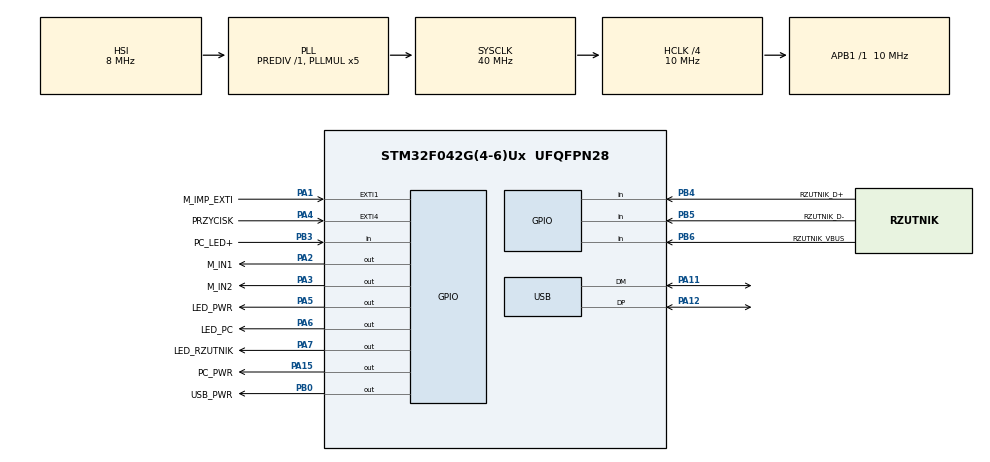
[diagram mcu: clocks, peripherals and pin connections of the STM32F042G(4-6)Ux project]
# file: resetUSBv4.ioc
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Mcu.Family=STM32F0
Mcu.Name=STM32F042G(4-6)Ux
Mcu.Package=UFQFPN28
NVIC.EXTI4_15_IRQn=true\:0\:0\:false\:false\:true\:true
PA1.GPIO_Label=M_IMP_EXTI
PA1.Signal=GPXTI1
PA11.Mode=Device
PA11.Signal=USB_DM
PA12.Mode=Device
PA12.Signal=USB_DP
PA13.Mode=Serial_Wire
PA13.Signal=SYS_SWDIO
PA14.Mode=Serial_Wire
PA14.Signal=SYS_SWCLK
PA15.GPIO_Label=PC_PWR
PA15.GPIO_ModeDefaultOutputPP=GPIO_MODE_OUTPUT_OD
PA15.GPIO_PuPd=GPIO_NOPULL
PA15.PinState=GPIO_PIN_SET
PA15.Signal=GPIO_Output
PA2.GPIO_Label=M_IN1
PA2.PinState=GPIO_PIN_SET
PA2.Signal=GPIO_Output
PA3.GPIO_Label=M_IN2
PA3.PinState=GPIO_PIN_SET
PA3.Signal=GPIO_Output
PA4.GPIO_Label=PRZYCISK
PA4.GPIO_ModeDefaultEXTI=GPIO_MODE_IT_RISING_FALLING
PA4.GPIO_PuPd=GPIO_PULLUP
PA4.Signal=GPXTI4
PA5.GPIO_Label=LED_PWR
PA5.Signal=GPIO_Output
PA6.GPIO_Label=LED_PC
PA6.Signal=GPIO_Output
PA7.GPIO_Label=LED_RZUTNIK
PA7.Signal=GPIO_Output
PB0.GPIO_Label=USB_PWR
PB0.GPIO_ModeDefaultOutputPP=GPIO_MODE_OUTPUT_OD
PB0.GPIO_PuPd=GPIO_NOPULL
PB0.PinState=GPIO_PIN_SET
PB0.Signal=GPIO_Output
PB3.GPIO_Label=PC_LED+
PB3.GPIO_PuPd=GPIO_NOPULL
PB3.Signal=GPIO_Input
PB4.GPIO_Label=RZUTNIK_D+
PB4.GPIO_PuPd=GPIO_PULLDOWN
PB4.Signal=GPIO_Input
PB5.GPIO_Label=RZUTNIK_D-
PB5.GPIO_PuPd=GPIO_PULLDOWN
PB5.Signal=GPIO_Input
PB6.GPIO_Label=RZUTNIK_VBUS
PB6.GPIO_PuPd=GPIO_PULLDOWN
PB6.Signal=GPIO_Input
ProjectManager.HeapSize=0x200
ProjectManager.StackSize=0x400
ProjectManager.TargetToolchain=SW4STM32
RCC.AHBCLKDivider=RCC_SYSCLK_DIV4
RCC.AHBFreq_Value=10000000
RCC.APB1Freq_Value=10000000
RCC.APB1TimFreq_Value=10000000
RCC.HCLKFreq_Value=10000000
RCC.PLLMUL=RCC_PLL_MUL5
RCC.SYSCLKFreq_VALUE=40000000
RCC.SYSCLKSource=RCC_SYSCLKSOURCE_PLLCLK
TIM14.Channel=TIM_CHANNEL_1
VP_SYS_VS_PINREMAP.Mode=PINREMAP
VP_TIM14_VS_ClockSourceINT.Mode=Enable_Timer
VP_TIM14_VS_no_output1.Mode=Output Compare1 No Output
board=resetUSBv4

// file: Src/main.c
/**
  ******************************************************************************
  * @file           : main.c
  * @brief          : Main program body
  ******************************************************************************
  ** This notice applies to any and all portions of this file
  * that are not between comment pairs USER CODE BEGIN and
  * USER CODE END. Other portions of this file, whether
  * inserted by the user or by software development tools
  * are owned by their respective copyright owners.
  *
  * COPYRIGHT(c) 2018 STMicroelectronics
  *
  * Redistribution and use in source and binary forms, with or without modification,
  * are permitted provided that the following conditions are met:
  *   1. Redistributions of source code must retain the above copyright notice,
  *      this list of conditions and the following disclaimer.
  *   2. Redistributions in binary form must reproduce the above copyright notice,
  *      this list of conditions and the following disclaimer in the documentation
  *      and/or other materials provided with the distribution.
  *   3. Neither the name of STMicroelectronics nor the names of its contributors
  *      may be used to endorse or promote products derived from this software
  *      without specific prior written permission.
  *
  * THIS SOFTWARE IS PROVIDED BY THE COPYRIGHT HOLDERS AND CONTRIBUTORS "AS IS"
  * AND ANY EXPRESS OR IMPLIED WARRANTIES, INCLUDING, BUT NOT LIMITED TO, THE
  * IMPLIED WARRANTIES OF MERCHANTABILITY AND FITNESS FOR A PARTICULAR PURPOSE ARE
  * DISCLAIMED. IN NO EVENT SHALL THE COPYRIGHT HOLDER OR CONTRIBUTORS BE LIABLE
  * FOR ANY DIRECT, INDIRECT, INCIDENTAL, SPECIAL, EXEMPLARY, OR CONSEQUENTIAL
  * DAMAGES (INCLUDING, BUT NOT LIMITED TO, PROCUREMENT OF SUBSTITUTE GOODS OR
  * SERVICES; LOSS OF USE, DATA, OR PROFITS; OR BUSINESS INTERRUPTION) HOWEVER
  * CAUSED AND ON ANY THEORY OF LIABILITY, WHETHER IN CONTRACT, STRICT LIABILITY,
  * OR TORT (INCLUDING NEGLIGENCE OR OTHERWISE) ARISING IN ANY WAY OUT OF THE USE
  * OF THIS SOFTWARE, EVEN IF ADVISED OF THE POSSIBILITY OF SUCH DAMAGE.
  *
  ******************************************************************************
  */
#include "main.h"
#include "stm32f0xx_hal.h"

TIM_HandleTypeDef htim14;

PCD_HandleTypeDef hpcd_USB_FS;

/* USER CODE BEGIN PV */
/* Private variables ---------------------------------------------------------*/
enum stany_programu
{
	oczekiwanie,
	silownik_gora,
	silownik_dol
};

volatile enum stany_programu stan = oczekiwanie;
volatile uint8_t przycisk_flag = 0;
/* USER CODE END PV */

void SystemClock_Config(void);
static void MX_GPIO_Init(void);
static void MX_TIM14_Init(void);
static void MX_USB_PCD_Init(void);

/* USER CODE BEGIN PFP */
/* Private function prototypes -----------------------------------------------*/
void HAL_GPIO_EXTI_Callback(uint16_t GPIO_Pin)
{
	if(GPIO_Pin == PRZYCISK_Pin)	// zdarzenie przycisku
	{
		if(HAL_GPIO_ReadPin(PRZYCISK_GPIO_Port, PRZYCISK_Pin) == 0)	// przycisk wcisniety
		{
			przycisk_flag = 1;
		}
	}
}
/* USER CODE END PFP */

int main(void)
{

  /* MCU Configuration----------------------------------------------------------*/

  /* Reset of all peripherals, Initializes the Flash interface and the Systick. */
  HAL_Init();

  /* Configure the system clock */
  SystemClock_Config();

  /* Initialize all configured peripherals */
  MX_GPIO_Init();
  MX_TIM14_Init();
  MX_USB_PCD_Init();

  /* Infinite loop */
  /* USER CODE BEGIN WHILE */
  enum stany_programu stan_poprzedni = stan;
  while (1)
  {
	  if(przycisk_flag)
	  {
		  przycisk_flag = 0;
		  HAL_Delay(10);
		  if(HAL_GPIO_ReadPin(PRZYCISK_GPIO_Port, PRZYCISK_Pin) == 0)	// przycisk wcisniety
		  {
			  if(stan == oczekiwanie) stan = silownik_gora;
			  else if(stan == silownik_gora) stan = silownik_dol;
			  else stan = oczekiwanie;
		  }
	  }
	  if(stan == oczekiwanie)
	  {
		  HAL_GPIO_WritePin(USB_PWR_GPIO_Port, USB_PWR_Pin, GPIO_PIN_SET);
		  if(stan_poprzedni != stan)
		  {
			  HAL_GPIO_WritePin(M_IN1_GPIO_Port, M_IN1_Pin, GPIO_PIN_SET);
			  HAL_GPIO_WritePin(M_IN2_GPIO_Port, M_IN2_Pin, GPIO_PIN_SET);

			  HAL_GPIO_WritePin(LED_PWR_GPIO_Port, LED_PWR_Pin, GPIO_PIN_RESET);
			  HAL_GPIO_WritePin(LED_PC_GPIO_Port, LED_PC_Pin, GPIO_PIN_RESET);
			  HAL_GPIO_WritePin(LED_RZUTNIK_GPIO_Port, LED_RZUTNIK_Pin, GPIO_PIN_RESET);
			  stan_poprzedni = stan;
		  }

		  HAL_GPIO_TogglePin(LED_PWR_GPIO_Port, LED_PWR_Pin);
		  HAL_GPIO_TogglePin(LED_PC_GPIO_Port, LED_PC_Pin);
		  HAL_GPIO_TogglePin(LED_RZUTNIK_GPIO_Port, LED_RZUTNIK_Pin);
		  HAL_Delay(500);
	  }
	  else
	  {
		  HAL_GPIO_WritePin(USB_PWR_GPIO_Port, USB_PWR_Pin, GPIO_PIN_RESET);
	  }

	  if (stan == silownik_gora)
	  {
		  if(stan_poprzedni != stan)
		  {
			  HAL_GPIO_WritePin(LED_PWR_GPIO_Port, LED_PWR_Pin, GPIO_PIN_RESET);
			  HAL_GPIO_WritePin(LED_PC_GPIO_Port, LED_PC_Pin, GPIO_PIN_RESET);
			  HAL_GPIO_WritePin(LED_RZUTNIK_GPIO_Port, LED_RZUTNIK_Pin, GPIO_PIN_SET);
			  stan_poprzedni = stan;
		  }

		  HAL_GPIO_WritePin(M_IN1_GPIO_Port, M_IN1_Pin, GPIO_PIN_SET);
		  HAL_GPIO_WritePin(M_IN2_GPIO_Port, M_IN2_Pin, GPIO_PIN_RESET);
	  }
	  else if (stan == silownik_dol)
	  {
		  if(stan_poprzedni != stan)
		  {
			  HAL_GPIO_WritePin(LED_PWR_GPIO_Port, LED_PWR_Pin, GPIO_PIN_SET);
			  HAL_GPIO_WritePin(LED_PC_GPIO_Port, LED_PC_Pin, GPIO_PIN_RESET);
			  HAL_GPIO_WritePin(LED_RZUTNIK_GPIO_Port, LED_RZUTNIK_Pin, GPIO_PIN_RESET);
			  stan_poprzedni = stan;
		  }

		  HAL_GPIO_WritePin(M_IN2_GPIO_Port, M_IN2_Pin, GPIO_PIN_SET);
		  HAL_GPIO_WritePin(M_IN1_GPIO_Port, M_IN1_Pin, GPIO_PIN_RESET);
	  }

  /* USER CODE END WHILE */

  }

}

void SystemClock_Config(void)
{

  RCC_OscInitTypeDef RCC_OscInitStruct;
  RCC_ClkInitTypeDef RCC_ClkInitStruct;
  RCC_PeriphCLKInitTypeDef PeriphClkInit;

    /**Initializes the CPU, AHB and APB busses clocks
    */
  RCC_OscInitStruct.OscillatorType = RCC_OSCILLATORTYPE_HSI|RCC_OSCILLATORTYPE_HSI48;
  RCC_OscInitStruct.HSIState = RCC_HSI_ON;
  RCC_OscInitStruct.HSI48State = RCC_HSI48_ON;
  RCC_OscInitStruct.HSICalibrationValue = 16;
  RCC_OscInitStruct.PLL.PLLState = RCC_PLL_ON;
  RCC_OscInitStruct.PLL.PLLSource = RCC_PLLSOURCE_HSI;
  RCC_OscInitStruct.PLL.PLLMUL = RCC_PLL_MUL5;
  RCC_OscInitStruct.PLL.PREDIV = RCC_PREDIV_DIV1;
  if (HAL_RCC_OscConfig(&RCC_OscInitStruct) != HAL_OK)
  {
    _Error_Handler(__FILE__, __LINE__);
  }

    /**Initializes the CPU, AHB and APB busses clocks
    */
  RCC_ClkInitStruct.ClockType = RCC_CLOCKTYPE_HCLK|RCC_CLOCKTYPE_SYSCLK
                              |RCC_CLOCKTYPE_PCLK1;
  RCC_ClkInitStruct.SYSCLKSource = RCC_SYSCLKSOURCE_PLLCLK;
  RCC_ClkInitStruct.AHBCLKDivider = RCC_SYSCLK_DIV4;
  RCC_ClkInitStruct.APB1CLKDivider = RCC_HCLK_DIV1;

  if (HAL_RCC_ClockConfig(&RCC_ClkInitStruct, FLASH_LATENCY_0) != HAL_OK)
  {
    _Error_Handler(__FILE__, __LINE__);
  }

  PeriphClkInit.PeriphClockSelection = RCC_PERIPHCLK_USB;
  PeriphClkInit.UsbClockSelection = RCC_USBCLKSOURCE_HSI48;

  if (HAL_RCCEx_PeriphCLKConfig(&PeriphClkInit) != HAL_OK)
  {
    _Error_Handler(__FILE__, __LINE__);
  }

    /**Configure the Systick interrupt time
    */
  HAL_SYSTICK_Config(HAL_RCC_GetHCLKFreq()/1000);

    /**Configure the Systick
    */
  HAL_SYSTICK_CLKSourceConfig(SYSTICK_CLKSOURCE_HCLK);

  /* SysTick_IRQn interrupt configuration */
  HAL_NVIC_SetPriority(SysTick_IRQn, 0, 0);
}

/* TIM14 init function */
static void MX_TIM14_Init(void)
{

  TIM_OC_InitTypeDef sConfigOC;

  htim14.Instance = TIM14;
  htim14.Init.Prescaler = 0;
  htim14.Init.CounterMode = TIM_COUNTERMODE_UP;
  htim14.Init.Period = 0;
  htim14.Init.ClockDivision = TIM_CLOCKDIVISION_DIV1;
  htim14.Init.AutoReloadPreload = TIM_AUTORELOAD_PRELOAD_DISABLE;
  if (HAL_TIM_Base_Init(&htim14) != HAL_OK)
  {
    _Error_Handler(__FILE__, __LINE__);
  }

  if (HAL_TIM_OC_Init(&htim14) != HAL_OK)
  {
    _Error_Handler(__FILE__, __LINE__);
  }

  sConfigOC.OCMode = TIM_OCMODE_TIMING;
  sConfigOC.Pulse = 0;
  sConfigOC.OCPolarity = TIM_OCPOLARITY_HIGH;
  sConfigOC.OCFastMode = TIM_OCFAST_DISABLE;
  if (HAL_TIM_OC_ConfigChannel(&htim14, &sConfigOC, TIM_CHANNEL_1) != HAL_OK)
  {
    _Error_Handler(__FILE__, __LINE__);
  }

}

/* USB init function */
static void MX_USB_PCD_Init(void)
{

  hpcd_USB_FS.Instance = USB;
  hpcd_USB_FS.Init.dev_endpoints = 8;
  hpcd_USB_FS.Init.speed = PCD_SPEED_FULL;
  hpcd_USB_FS.Init.ep0_mps = DEP0CTL_MPS_64;
  hpcd_USB_FS.Init.phy_itface = PCD_PHY_EMBEDDED;
  hpcd_USB_FS.Init.low_power_enable = DISABLE;
  hpcd_USB_FS.Init.lpm_enable = DISABLE;
  hpcd_USB_FS.Init.battery_charging_enable = DISABLE;
  if (HAL_PCD_Init(&hpcd_USB_FS) != HAL_OK)
  {
    _Error_Handler(__FILE__, __LINE__);
  }

}

/** Configure pins as
        * Analog
        * Input
        * Output
        * EVENT_OUT
        * EXTI
*/
static void MX_GPIO_Init(void)
{

  GPIO_InitTypeDef GPIO_InitStruct;

  /* GPIO Ports Clock Enable */
  __HAL_RCC_GPIOA_CLK_ENABLE();
  __HAL_RCC_GPIOB_CLK_ENABLE();

  /*Configure GPIO pin Output Level */
  HAL_GPIO_WritePin(GPIOA, M_IN1_Pin|M_IN2_Pin|PC_PWR_Pin, GPIO_PIN_SET);

  /*Configure GPIO pin Output Level */
  HAL_GPIO_WritePin(GPIOA, LED_PWR_Pin|LED_PC_Pin|LED_RZUTNIK_Pin, GPIO_PIN_RESET);

  /*Configure GPIO pin Output Level */
  HAL_GPIO_WritePin(USB_PWR_GPIO_Port, USB_PWR_Pin, GPIO_PIN_SET);

  /*Configure GPIO pin : M_IMP_EXTI_Pin */
  GPIO_InitStruct.Pin = M_IMP_EXTI_Pin;
  GPIO_InitStruct.Mode = GPIO_MODE_IT_RISING;
  GPIO_InitStruct.Pull = GPIO_NOPULL;
  HAL_GPIO_Init(M_IMP_EXTI_GPIO_Port, &GPIO_InitStruct);

  /*Configure GPIO pins : M_IN1_Pin M_IN2_Pin LED_PWR_Pin LED_PC_Pin
                           LED_RZUTNIK_Pin */
  GPIO_InitStruct.Pin = M_IN1_Pin|M_IN2_Pin|LED_PWR_Pin|LED_PC_Pin
                          |LED_RZUTNIK_Pin;
  GPIO_InitStruct.Mode = GPIO_MODE_OUTPUT_PP;
  GPIO_InitStruct.Pull = GPIO_NOPULL;
  GPIO_InitStruct.Speed = GPIO_SPEED_FREQ_LOW;
  HAL_GPIO_Init(GPIOA, &GPIO_InitStruct);

  /*Configure GPIO pin : PRZYCISK_Pin */
  GPIO_InitStruct.Pin = PRZYCISK_Pin;
  GPIO_InitStruct.Mode = GPIO_MODE_IT_RISING_FALLING;
  GPIO_InitStruct.Pull = GPIO_PULLUP;
  HAL_GPIO_Init(PRZYCISK_GPIO_Port, &GPIO_InitStruct);

  /*Configure GPIO pin : USB_PWR_Pin */
  GPIO_InitStruct.Pin = USB_PWR_Pin;
  GPIO_InitStruct.Mode = GPIO_MODE_OUTPUT_OD;
  GPIO_InitStruct.Pull = GPIO_NOPULL;
  GPIO_InitStruct.Speed = GPIO_SPEED_FREQ_LOW;
  HAL_GPIO_Init(USB_PWR_GPIO_Port, &GPIO_InitStruct);

  /*Configure GPIO pin : PC_PWR_Pin */
  GPIO_InitStruct.Pin = PC_PWR_Pin;
  GPIO_InitStruct.Mode = GPIO_MODE_OUTPUT_OD;
  GPIO_InitStruct.Pull = GPIO_NOPULL;
  GPIO_InitStruct.Speed = GPIO_SPEED_FREQ_LOW;
  HAL_GPIO_Init(PC_PWR_GPIO_Port, &GPIO_InitStruct);

  /*Configure GPIO pin : PC_LED__Pin */
  GPIO_InitStruct.Pin = PC_LED__Pin;
  GPIO_InitStruct.Mode = GPIO_MODE_INPUT;
  GPIO_InitStruct.Pull = GPIO_NOPULL;
  HAL_GPIO_Init(PC_LED__GPIO_Port, &GPIO_InitStruct);

  /*Configure GPIO pins : RZUTNIK_D__Pin RZUTNIK_D_B5_Pin RZUTNIK_VBUS_Pin */
  GPIO_InitStruct.Pin = RZUTNIK_D__Pin|RZUTNIK_D_B5_Pin|RZUTNIK_VBUS_Pin;
  GPIO_InitStruct.Mode = GPIO_MODE_INPUT;
  GPIO_InitStruct.Pull = GPIO_PULLDOWN;
  HAL_GPIO_Init(GPIOB, &GPIO_InitStruct);

  /* EXTI interrupt init*/
  HAL_NVIC_SetPriority(EXTI4_15_IRQn, 0, 0);
  HAL_NVIC_EnableIRQ(EXTI4_15_IRQn);

}

void _Error_Handler(char *file, int line)
{
  while(1)
  {
  }
}

/************************ (C) COPYRIGHT STMicroelectronics *****END OF FILE****/
